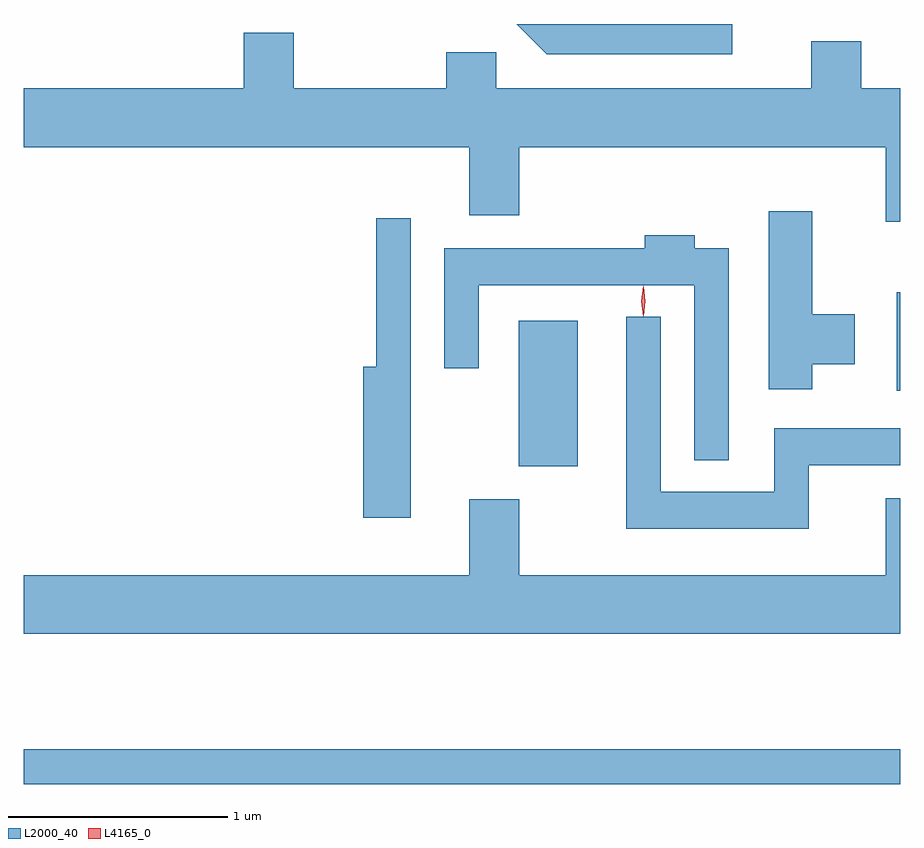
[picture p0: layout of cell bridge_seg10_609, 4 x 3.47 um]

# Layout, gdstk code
import gdstk
lib = gdstk.Library(unit=1e-6, precision=1e-09)
def R(c, l, rs):  # rectangles x0, y0, x1, y1
    for r in rs: c.add(gdstk.rectangle(r[:2], r[2:], *l))
def P(c, l, *ps):  # polygons
    for p in ps: c.add(gdstk.Polygon(p, *l))
L2000_40 = (2000, 40)
L4165_0 = (4165, 0)

bridge_seg10_609 = lib.new_cell('bridge_seg10_609')
R(bridge_seg10_609, L2000_40, [(835.717,2135.431,839.717,2135.589), (837.976,2136.881,838.244,2137.544), (839.701,2137.226,839.717,2137.674)])
P(bridge_seg10_609, L2000_40, [(838.949,2138.898),(837.967,2138.898),(838.104,2138.761),(838.949,2138.761)],
  [(839.717,2138.604),(839.539,2138.604),(839.539,2138.819),(839.311,2138.819),(839.311,2138.604),(837.874,2138.604),(837.874,2138.769),(837.646,2138.769),(837.646,2138.604),(836.949,2138.604),(836.949,2138.859),(836.721,2138.859),(836.721,2138.604),(835.717,2138.604),(835.717,2138.336),(837.751,2138.336),(837.751,2138.026),(837.979,2138.026),(837.979,2138.336),(839.651,2138.336),(839.651,2137.996),(839.717,2137.996)],
  [(839.314,2137.346),(839.509,2137.346),(839.509,2137.574),(839.314,2137.574),(839.314,2138.044),(839.116,2138.044),(839.116,2137.231),(839.314,2137.231)],
  [(837.484,2138.013),(837.326,2138.013),(837.326,2137.334),(837.266,2137.334),(837.266,2136.646),(837.484,2136.646)],
  [(838.934,2137.874),(838.779,2137.874),(838.779,2137.934),(838.551,2137.934),(838.551,2137.874),(837.636,2137.874),(837.636,2137.328),(837.794,2137.328),(837.794,2137.706),(838.776,2137.706),(838.776,2136.908),(838.934,2136.908)],
  [(839.299,2136.886),(839.717,2136.886),(839.717,2137.054),(839.141,2137.054),(839.141,2136.764),(838.624,2136.764),(838.624,2137.563),(838.466,2137.563),(838.466,2136.596),(839.299,2136.596)],
  [(839.717,2136.734),(839.651,2136.734),(839.651,2136.384),(837.979,2136.384),(837.979,2136.729),(837.751,2136.729),(837.751,2136.384),(835.717,2136.384),(835.717,2136.116),(839.717,2136.116)])
P(bridge_seg10_609, L4165_0, [(838.543,2137.564),(838.534,2137.633),(838.543,2137.702),(838.544,2137.703),(838.544,2137.702),(838.554,2137.633),(838.544,2137.564),(838.544,2137.564)],
  [(838.544,2137.567),(838.544,2137.568),(838.534,2137.634),(838.544,2137.7),(838.544,2137.7),(838.545,2137.7),(838.554,2137.634),(838.545,2137.568)])

lib.write_gds('bridge_seg10_609.gds')
